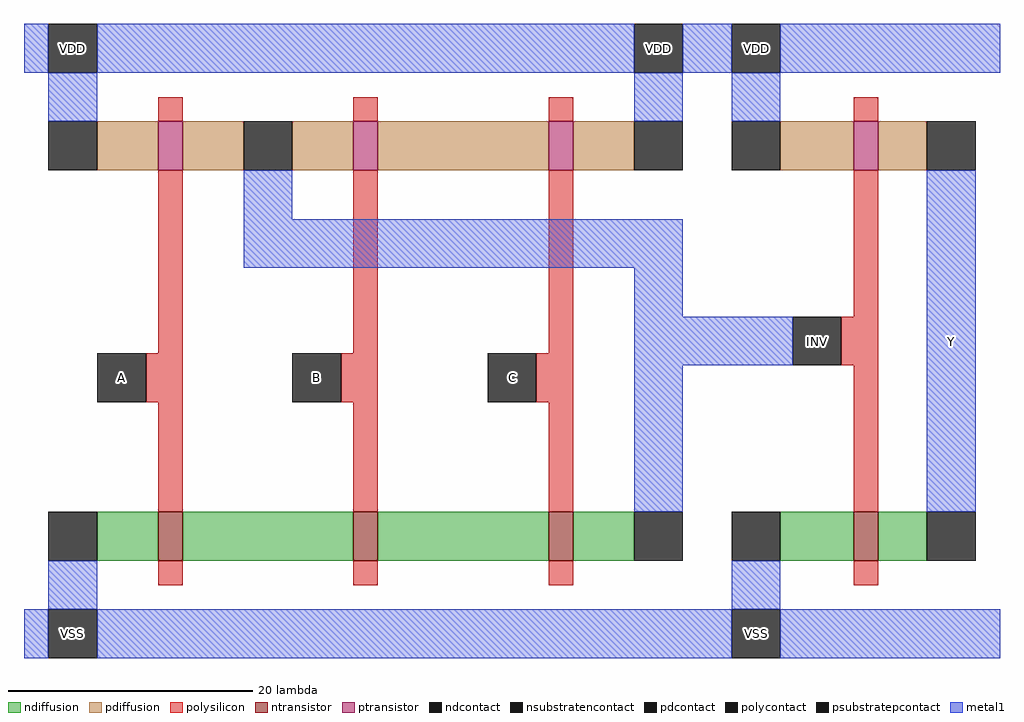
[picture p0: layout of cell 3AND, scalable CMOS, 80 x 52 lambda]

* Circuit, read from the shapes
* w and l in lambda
.subckt 3AND A B C INV VDD VSS Y
M1 n1 A VSS VSS nfet w=4 l=2
M2 n2 B n1 VSS nfet w=4 l=2
M3 INV C n2 VSS nfet w=4 l=2
M4 Y INV VSS VSS nfet w=4 l=2
M5 INV A VDD VDD pfet w=4 l=2
M6 n3 B INV VDD pfet w=4 l=2
M7 VDD C n3 VDD pfet w=4 l=2
M8 Y INV VDD VDD pfet w=4 l=2
.ends

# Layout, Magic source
magic
tech scmos
<< ntransistor >>
rect 13 8 15 12
rect 29 8 31 12
rect 45 8 47 12
rect 70 8 72 12
<< ptransistor >>
rect 13 40 15 44
rect 29 40 31 44
rect 45 40 47 44
rect 70 40 72 44
<< ndiffusion >>
rect 8 8 13 12
rect 15 8 29 12
rect 31 8 45 12
rect 47 8 52 12
rect 64 8 70 12
rect 72 8 76 12
<< pdiffusion >>
rect 8 40 13 44
rect 15 40 20 44
rect 24 40 29 44
rect 31 40 45 44
rect 47 40 52 44
rect 64 40 70 44
rect 72 40 76 44
<< ndcontact >>
rect 4 8 8 12
rect 52 8 56 12
rect 60 8 64 12
rect 76 8 80 12
<< pdcontact >>
rect 4 40 8 44
rect 20 40 24 44
rect 52 40 56 44
rect 60 40 64 44
rect 76 40 80 44
<< psubstratepcontact >>
rect 4 0 8 4
rect 60 0 64 4
<< nsubstratencontact >>
rect 4 48 8 52
rect 52 48 56 52
rect 60 48 64 52
<< polysilicon >>
rect 13 44 15 46
rect 29 44 31 46
rect 45 44 47 46
rect 70 44 72 46
rect 13 25 15 40
rect 29 25 31 40
rect 45 25 47 40
rect 70 28 72 40
rect 12 21 15 25
rect 28 21 31 25
rect 44 21 47 25
rect 69 24 72 28
rect 13 12 15 21
rect 29 12 31 21
rect 45 12 47 21
rect 70 12 72 24
rect 13 6 15 8
rect 29 6 31 8
rect 45 6 47 8
rect 70 6 72 8
<< polycontact >>
rect 8 21 12 25
rect 24 21 28 25
rect 40 21 44 25
rect 65 24 69 28
<< metal1 >>
rect 2 48 4 52
rect 8 48 52 52
rect 56 48 60 52
rect 64 48 82 52
rect 4 44 8 48
rect 52 44 56 48
rect 60 44 64 48
rect 20 36 24 40
rect 20 32 56 36
rect 52 28 56 32
rect 52 24 65 28
rect 52 12 56 24
rect 76 12 80 40
rect 4 4 8 8
rect 60 4 64 8
rect 2 0 4 4
rect 8 0 60 4
rect 64 0 82 4
<< labels >>
rlabel nsubstratencontact 62 50 62 50 5 VDD
rlabel psubstratepcontact 6 2 6 2 1 VSS
rlabel psubstratepcontact 62 2 62 2 1 VSS
rlabel polycontact 67 26 67 26 1 INV
rlabel metal1 78 26 78 26 1 Y
rlabel nsubstratencontact 6 50 6 50 1 VDD
rlabel polycontact 10 23 10 23 1 A
rlabel polycontact 26 23 26 23 1 B
rlabel polycontact 42 23 42 23 1 C
rlabel nsubstratencontact 54 50 54 50 1 VDD
<< end >>
